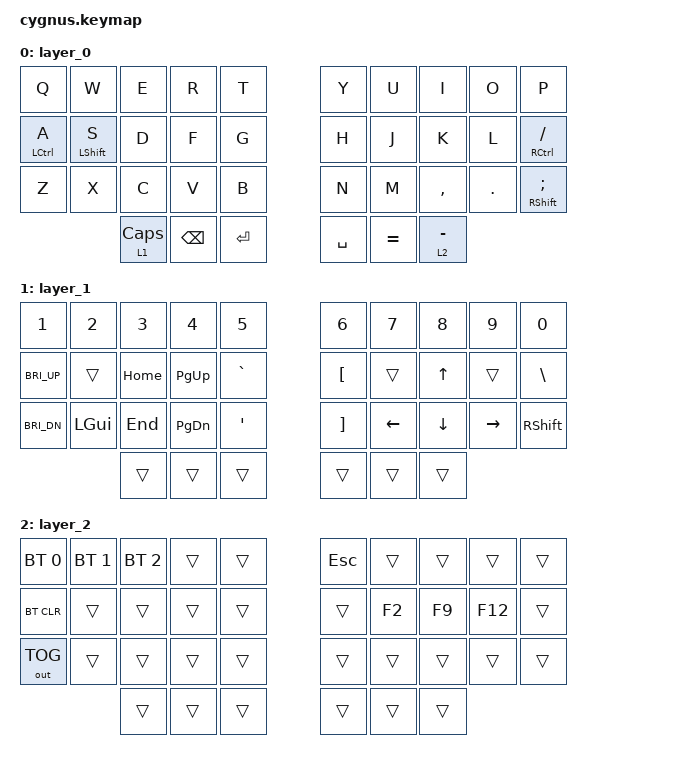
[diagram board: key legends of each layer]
/*
 * Copyright (c) 2020 The ZMK Contributors
 *
 * SPDX-License-Identifier: MIT
 */
#include <dt-bindings/zmk/mouse.h>
#include <behaviors.dtsi>
#include <behaviors/mouse_keys.dtsi>
#include <dt-bindings/zmk/bt.h>
#include <dt-bindings/zmk/keys.h>
#include <dt-bindings/zmk/outputs.h>

&mt {
    tapping-term-ms = <200>;
    flavor = "tap-preferred";
};

&sk {
    release-after-ms = <2000>;
    quick-release;
};

/ {
    /*combos {
     *   compatible = "zmk,combos";
*
      *  left_bkt {
      *      bindings = <&kp LBKT>;
       *     key-positions = <3 2>;
       *     timeout-ms = <50>;
       * };
*
       * right_bkt {
        *    bindings = <&kp RBKT>;
        *    key-positions = <6 7>;
         *   timeout-ms = <50>;
       * };

       * left_par {
         *   bindings = <&kp LEFT_PARENTHESIS>;
           * key-positions = <12 13>;
           * timeout-ms = <50>;
      *  };
*
      *  right_par {
       *     bindings = <&kp RIGHT_PARENTHESIS>;
      *      key-positions = <16 17>;
      *      timeout-ms = <50>;
      * };
*
     *   left_brace {
      *      bindings = <&kp LEFT_BRACE>;
       *     key-positions = <23 22>;
        *    timeout-ms = <50>;
      *  };
*
      *  right_brace {
       *     bindings = <&kp RIGHT_BRACE>;
       *     key-positions = <26 27>;
       *     timeout-ms = <50>;
       * };
*
      *  bac {
        *    bindings = <&kp BACKSLASH>;
        *    key-positions = <4 5>;
     *   };
*
      *  pipe {
     *       bindings = <&kp PIPE>;
      *key-positions = <14 15>;
    *    };
   };
*/
    behaviors {
        hm: homerow_mods {
            compatible = "zmk,behavior-hold-tap";
            label = "HOMEROW_MODS";
            #binding-cells = <2>;
            tapping-term-ms = <200>;
            quick_tap_ms = <0>;
            flavor = "tap-preferred";
            bindings = <&kp>, <&kp>;

            quick-tap-ms = <180>;
            global-quick-tap;
        };

        ltq: ltq {
            compatible = "zmk,behavior-hold-tap";
            label = "LTQ";
            #binding-cells = <2>;
            tapping-term-ms = <200>;
            quick_tap_ms = <0>;
            flavor = "hold-preferred";
            bindings = <&mo>, <&kp>;

            quick-tap-ms = <180>;
            global-quick-tap;
        };

        as: as {
            compatible = "zmk,behavior-hold-tap";
            label = "AUTO_SHIFT";
            bindings = <&kp>, <&kp>;

            #binding-cells = <2>;
            tapping-term-ms = <135>;
            quick-tap-ms = <0>;
            flavor = "tap-preferred";
        };
    };

    keymap {
        compatible = "zmk,keymap";

        layer_0 {
            bindings = <
&kp Q                          &kp W             &kp E                &kp R             &kp T         &kp Y                     &kp U              &kp I               &kp O           &kp  P
&hm LCTRL A                    &hm LSHFT S           &kp D                &kp  F            &kp G         &kp H                     &kp  J             &kp  K              &kp  L          &hm RCTRL FSLH
&kp Z                          &kp X             &kp C                &kp V             &kp B         &kp N                     &kp M              &kp COMMA           &kp DOT         &hm RSHFT SEMI
                               &ltq 1 CAPS    &kp BACKSPACE      &kp ENTER                   &kp SPACE        &kp EQUAL         &ltq 2  MINUS
            >;
        };

        layer_1{
            bindings = <
&kp N1                &kp N2            &kp N3            &kp N4         &kp N5           &kp N6            &kp N7        &kp N8        &kp N9        &kp N0
&kp C_BRI_UP            &trans          &kp HOME          &kp PG_UP      &kp GRAVE        &kp LBKT          &trans        &kp UP       &trans         &kp BSLH
&kp C_BRI_DN          &kp LGUI          &kp END           &kp PG_DN      &kp SQT          &kp RBKT          &kp LEFT        &kp DOWN        &kp RIGHT        &kp RSHFT
            &trans                &trans            &trans             &trans             &trans        &trans
            >;
        };

        layer_2 {
            bindings = <
&bt BT_SEL 0          &bt BT_SEL 1    &bt BT_SEL 2    &trans      &trans          &kp ESC         &trans      &trans       &trans      &trans
&bt BT_CLR            &trans          &trans          &trans      &trans          &trans         &kp F2     &kp F9       &kp F12      &trans
&out OUT_TOG          &trans          &trans          &trans      &trans          &trans         &trans      &trans       &trans      &trans
                 &trans                &trans            &trans                      &trans       &trans     &trans
            >;
        };
    };
};
